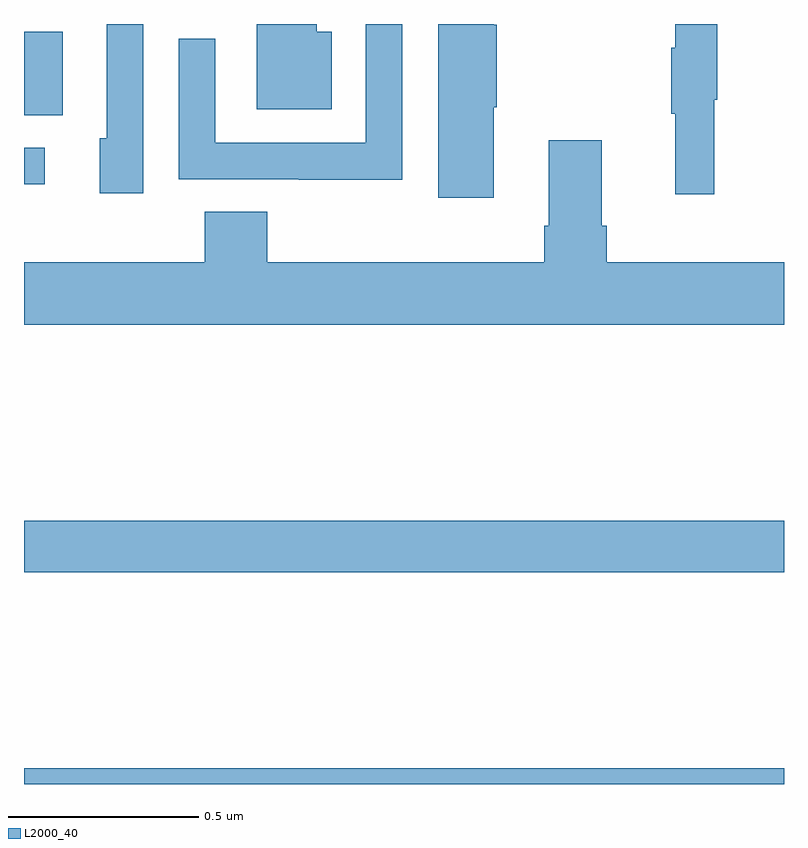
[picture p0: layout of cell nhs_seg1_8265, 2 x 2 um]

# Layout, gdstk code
import gdstk
lib = gdstk.Library(unit=1e-6, precision=1e-09)
def R(c, l, rs):  # rectangles x0, y0, x1, y1
    for r in rs: c.add(gdstk.rectangle(r[:2], r[2:], *l))
def P(c, l, *ps):  # polygons
    for p in ps: c.add(gdstk.Polygon(p, *l))
L2000_40 = (2000, 40)

nhs_seg1_8265 = lib.new_cell('nhs_seg1_8265')
R(nhs_seg1_8265, L2000_40, [(214,541.199,216,541.24), (214,541.756,216,541.892), (214,542.777,214.054,542.874), (214,542.959,214.102,543.178)])
P(nhs_seg1_8265, L2000_40, [(215.816,543),(215.824,543),(215.824,543.199),(215.714,543.199),(215.714,543.137),(215.703,543.137),(215.703,542.963),(215.714,542.963),(215.714,542.751),(215.816,542.751)],
  [(214.314,543.199),(214.218,543.199),(214.218,542.898),(214.199,542.898),(214.199,542.754),(214.314,542.754)],
  [(214.81,543.178),(214.771,543.178),(214.771,543.199),(214.613,543.199),(214.613,542.975),(214.81,542.975)],
  [(215.236,542.98),(215.244,542.98),(215.244,543.197),(215.236,543.197),(215.236,543.199),(215.09,543.199),(215.09,542.742),(215.236,542.742)],
  [(214.995,543.199),(214.899,543.199),(214.899,542.886),(214.503,542.886),(214.503,543.16),(214.407,543.16),(214.407,542.79),(214.723,542.79),(214.723,542.789),(214.995,542.789)],
  [(216,542.572),(215.534,542.572),(215.534,542.668),(215.521,542.668),(215.521,542.893),(215.381,542.893),(215.381,542.668),(215.369,542.668),(215.369,542.572),(214.64,542.572),(214.64,542.705),(214.475,542.705),(214.475,542.572),(214,542.572),(214,542.408),(216,542.408)])

lib.write_gds('nhs_seg1_8265.gds')
